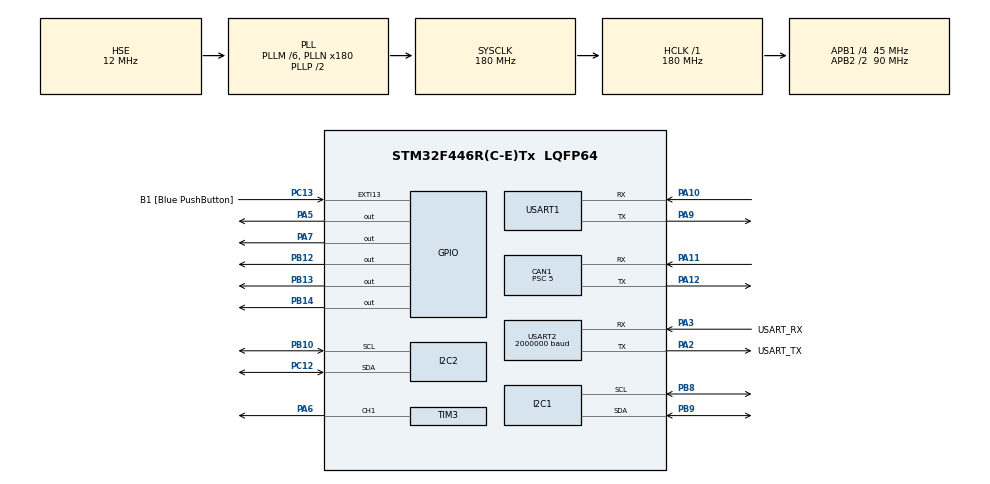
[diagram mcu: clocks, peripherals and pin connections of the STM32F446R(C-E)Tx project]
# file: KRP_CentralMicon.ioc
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CAN1.ABOM=ENABLE
CAN1.BS1=CAN_BS1_7TQ
CAN1.BS2=CAN_BS2_1TQ
CAN1.CalculateBaudRate=1000000
CAN1.CalculateTimeBit=999.99
CAN1.CalculateTimeQuantum=111.11111111111111
CAN1.NART=ENABLE
CAN1.Prescaler=5
CAN1.SJW=CAN_SJW_1TQ
CAN1.TXFP=ENABLE
Dma.Request0=USART2_RX
Dma.USART2_RX.0.Direction=DMA_PERIPH_TO_MEMORY
Dma.USART2_RX.0.FIFOMode=DMA_FIFOMODE_DISABLE
Dma.USART2_RX.0.Instance=DMA1_Stream5
Dma.USART2_RX.0.MemDataAlignment=DMA_MDATAALIGN_BYTE
Dma.USART2_RX.0.MemInc=DMA_MINC_ENABLE
Dma.USART2_RX.0.Mode=DMA_CIRCULAR
Dma.USART2_RX.0.PeriphDataAlignment=DMA_PDATAALIGN_BYTE
Dma.USART2_RX.0.PeriphInc=DMA_PINC_DISABLE
Dma.USART2_RX.0.Priority=DMA_PRIORITY_LOW
I2C1.I2C_Mode=I2C_Fast
I2C2.I2C_Mode=I2C_Fast
Mcu.Family=STM32F4
Mcu.Name=STM32F446R(C-E)Tx
Mcu.Package=LQFP64
NVIC.CAN1_RX0_IRQn=true\:0\:2\:false\:false\:true\:true\:true
NVIC.CAN1_RX1_IRQn=true\:0\:2\:false\:false\:true\:true\:true
NVIC.CAN1_SCE_IRQn=true\:0\:0\:false\:false\:true\:true\:true
NVIC.DMA1_Stream5_IRQn=true\:0\:0\:false\:false\:true\:false\:true
NVIC.I2C1_EV_IRQn=true\:0\:1\:false\:false\:true\:true\:true
NVIC.I2C2_EV_IRQn=true\:0\:0\:false\:false\:true\:true\:true
NVIC.PriorityGroup=NVIC_PRIORITYGROUP_0
NVIC.TIM3_IRQn=true\:0\:0\:false\:false\:true\:true\:true
NVIC.TIM6_DAC_IRQn=true\:0\:3\:false\:false\:true\:true\:true
NVIC.TIM7_IRQn=true\:0\:0\:false\:false\:true\:true\:true
NVIC.USART2_IRQn=true\:0\:0\:false\:false\:true\:true\:true
PA10.Mode=Asynchronous
PA10.Signal=USART1_RX
PA11.Mode=CAN_Activate
PA11.Signal=CAN1_RX
PA12.Mode=CAN_Activate
PA12.Signal=CAN1_TX
PA13.GPIO_Label=TMS
PA13.Mode=Serial_Wire
PA13.Signal=SYS_JTMS-SWDIO
PA14.GPIO_Label=TCK
PA14.Mode=Serial_Wire
PA14.Signal=SYS_JTCK-SWCLK
PA15.Signal=SYS_JTDI
PA2.GPIO_Label=USART_TX
PA2.Mode=Asynchronous
PA2.Signal=USART2_TX
PA3.GPIO_Label=USART_RX
PA3.Mode=Asynchronous
PA3.Signal=USART2_RX
PA5.GPIO_ModeDefaultOutputPP=GPIO_MODE_OUTPUT_PP
PA5.GPIO_PuPd=GPIO_NOPULL
PA5.Signal=GPIO_Output
PA6.Signal=S_TIM3_CH1
PA7.Signal=GPIO_Output
PA9.Mode=Asynchronous
PA9.Signal=USART1_TX
PB10.GPIO_Pu=GPIO_PULLUP
PB10.Mode=I2C
PB10.Signal=I2C2_SCL
PB12.Signal=GPIO_Output
PB13.Signal=GPIO_Output
PB14.Signal=GPIO_Output
PB3.GPIO_Label=SWO
PB3.Signal=SYS_JTDO-SWO
PB8.GPIO_Pu=GPIO_PULLUP
PB8.Mode=I2C
PB8.Signal=I2C1_SCL
PB9.GPIO_Pu=GPIO_PULLUP
PB9.Mode=I2C
PB9.Signal=I2C1_SDA
PC12.GPIO_Pu=GPIO_PULLUP
PC12.Mode=I2C
PC12.Signal=I2C2_SDA
PC13.GPIO_Label=B1 [Blue PushButton]
PC13.GPIO_ModeDefaultEXTI=GPIO_MODE_IT_FALLING
PC13.Signal=GPXTI13
PC14-OSC32_IN.Mode=LSE-External-Oscillator
PC14-OSC32_IN.Signal=RCC_OSC32_IN
PC15-OSC32_OUT.Mode=LSE-External-Oscillator
PC15-OSC32_OUT.Signal=RCC_OSC32_OUT
PH0-OSC_IN.Mode=HSE-External-Oscillator
PH0-OSC_IN.Signal=RCC_OSC_IN
PH1-OSC_OUT.Mode=HSE-External-Oscillator
PH1-OSC_OUT.Signal=RCC_OSC_OUT
ProjectManager.HeapSize=0x200
ProjectManager.StackSize=0x400
ProjectManager.TargetToolchain=STM32CubeIDE
RCC.48MHZClocksFreq_Value=84000000
RCC.AHBFreq_Value=180000000
RCC.APB1CLKDivider=RCC_HCLK_DIV4
RCC.APB1Freq_Value=45000000
RCC.APB1TimFreq_Value=90000000
RCC.APB2CLKDivider=RCC_HCLK_DIV2
RCC.APB2Freq_Value=90000000
RCC.APB2TimFreq_Value=180000000
RCC.CortexFreq_Value=180000000
RCC.FLatency-AdvancedSettings=FLASH_LATENCY_5
RCC.HCLKFreq_Value=180000000
RCC.HSE_VALUE=12000000
RCC.HSI_VALUE=16000000
RCC.PLLM=6
RCC.PLLN=180
RCC.PLLSourceVirtual=RCC_PLLSOURCE_HSE
RCC.SYSCLKFreq_VALUE=180000000
RCC.SYSCLKSource=RCC_SYSCLKSOURCE_PLLCLK
RCC.USBFreq_Value=180000000
RCC.VCOOutputFreq_Value=360000000
SH.S_TIM3_CH1.0=TIM3_CH1,PWM Generation1 CH1
TIM3.Channel-PWM\ Generation1\ CH1=TIM_CHANNEL_1
USART1.Parity=PARITY_EVEN
USART1.VirtualMode=VM_ASYNC
USART1.WordLength=WORDLENGTH_9B
USART2.BaudRate=2000000
USART2.VirtualMode=VM_ASYNC
VP_TIM6_VS_ClockSourceINT.Mode=Enable_Timer
VP_TIM7_VS_ClockSourceINT.Mode=Enable_Timer
board=NUCLEO-F446RE

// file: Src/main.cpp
/* USER CODE BEGIN Header */
/**
  ******************************************************************************
  * @file           : main.c
  * @brief          : Main program body
  ******************************************************************************
  * @attention
  *
  * <h2><center>&copy; Copyright (c) 2019 STMicroelectronics.
  * All rights reserved.</center></h2>
  *
  * This software component is licensed by ST under BSD 3-Clause license,
  * the "License"; You may not use this file except in compliance with the
  * License. You may obtain a copy of the License at:
  *                        opensource.org/licenses/BSD-3-Clause
  *
  ******************************************************************************
  */
/* USER CODE END Header */

#include "main.h"
#include "can.h"
#include "i2c.h"
#include "tim.h"
#include "usart.h"
#include "gpio.h"

/* USER CODE BEGIN Includes */
#include "Libraries/LowlayerHandel.hpp"
#include "Libraries/InterruptIvent/TimerInterruptCallback.hpp"
#include "stm32f4xx_hal.h"
#include "stdio.h"
#include "Libraries/DefineOrder.h"
#include <stdio.h>

/* USER CODE END Includes */

/* USER CODE BEGIN PTD */

extern void FilterConfig();
extern uint8_t con_data[8];

extern bool intflag;
/* USER CODE END PTD */

/* USER CODE BEGIN PD */
LowlayerHandelTypedef *plow;

/* USER CODE END PD */

/* USER CODE BEGIN PV */
float PSL=0;
/* USER CODE END PV */

void SystemClock_Config(void);

int main(void)
{

  /* MCU Configuration--------------------------------------------------------*/

  /* Reset of all peripherals, Initializes the Flash interface and the Systick. */

  HAL_Init();

  /* Configure the system clock */
  SystemClock_Config();

  /* Initialize all configured peripherals */
  MX_GPIO_Init();
  MX_CAN1_Init();
  MX_USART1_UART_Init();
  MX_USART2_UART_Init();
  MX_TIM6_Init();
  MX_TIM7_Init();
  MX_I2C2_Init();
  MX_TIM3_Init();
  MX_I2C1_Init();
  /* USER CODE BEGIN 2 */
  LowlayerHandelTypedef hlow;
  plow = &hlow;
  FilterConfig();
  HAL_GPIO_TogglePin(GPIOB, GPIO_PIN_14);
    HAL_Delay(500);
    // 緑色LED
    HAL_GPIO_TogglePin(GPIOB, GPIO_PIN_13);
    HAL_Delay(500);
    // 赤色LED
    HAL_GPIO_TogglePin(GPIOB, GPIO_PIN_12);
    HAL_Delay(1000);
    HAL_GPIO_TogglePin(GPIOB, GPIO_PIN_12);
    HAL_GPIO_TogglePin(GPIOB, GPIO_PIN_13);
    HAL_GPIO_TogglePin(GPIOB, GPIO_PIN_14);

  Timer1 LoopInt(&htim6);
  LoopInt.SetLoopTime(5);
  LoopInt.Start();

//#ifdef USEI2C
//    HAL_I2C_Master_Receive_IT(&hi2c2,CON_ADDRESEE,con_data,8);
//#endif

  /* USER CODE END 2 */

  /* Infinite loop */
  while (1)
  {
    /* USER CODE BEGIN 3 */
    if (intflag){

    	//hlow.PS3.begin();
    	PSL=hlow.PS3.ANALOG_LEFT_X();
    	PSL=PSL-130;
    	if(PSL<=0){
    		PSL=0;
    	}
    	if(PSL>=80){
    		PSL=80;
    	}

    	hlow.encoder1.Sendreqest();
    	hlow.Ad1.SendRequest();
    	hlow.loca.SendReqest();

    	hlow.SM1.SetDuty(PSL);

    	hlow.PS3.SetconData();
    	hlow.PS3.SendRequest();

    	intflag=false;
    }
  }
  /* USER CODE END 3 */
}

void SystemClock_Config(void)
{
  RCC_OscInitTypeDef RCC_OscInitStruct = {0};
  RCC_ClkInitTypeDef RCC_ClkInitStruct = {0};

  /** Configure the main internal regulator output voltage
  */
  __HAL_RCC_PWR_CLK_ENABLE();
  __HAL_PWR_VOLTAGESCALING_CONFIG(PWR_REGULATOR_VOLTAGE_SCALE1);
  /** Initializes the RCC Oscillators according to the specified parameters
  * in the RCC_OscInitTypeDef structure.
  */
  RCC_OscInitStruct.OscillatorType = RCC_OSCILLATORTYPE_HSE;
  RCC_OscInitStruct.HSEState = RCC_HSE_ON;
  RCC_OscInitStruct.PLL.PLLState = RCC_PLL_ON;
  RCC_OscInitStruct.PLL.PLLSource = RCC_PLLSOURCE_HSE;
  RCC_OscInitStruct.PLL.PLLM = 6;
  RCC_OscInitStruct.PLL.PLLN = 180;
  RCC_OscInitStruct.PLL.PLLP = RCC_PLLP_DIV2;
  RCC_OscInitStruct.PLL.PLLQ = 2;
  RCC_OscInitStruct.PLL.PLLR = 2;
  if (HAL_RCC_OscConfig(&RCC_OscInitStruct) != HAL_OK)
  {
    Error_Handler();
  }
  /** Activate the Over-Drive mode
  */
  if (HAL_PWREx_EnableOverDrive() != HAL_OK)
  {
    Error_Handler();
  }
  /** Initializes the CPU, AHB and APB buses clocks
  */
  RCC_ClkInitStruct.ClockType = RCC_CLOCKTYPE_HCLK|RCC_CLOCKTYPE_SYSCLK
                              |RCC_CLOCKTYPE_PCLK1|RCC_CLOCKTYPE_PCLK2;
  RCC_ClkInitStruct.SYSCLKSource = RCC_SYSCLKSOURCE_PLLCLK;
  RCC_ClkInitStruct.AHBCLKDivider = RCC_SYSCLK_DIV1;
  RCC_ClkInitStruct.APB1CLKDivider = RCC_HCLK_DIV4;
  RCC_ClkInitStruct.APB2CLKDivider = RCC_HCLK_DIV2;

  if (HAL_RCC_ClockConfig(&RCC_ClkInitStruct, FLASH_LATENCY_5) != HAL_OK)
  {
    Error_Handler();
  }
}

void Error_Handler(void)
{
  /* USER CODE BEGIN Error_Handler_Debug */
  /* User can add his own implementation to report the HAL error return state */
  printf("init error");
  /* USER CODE END Error_Handler_Debug */
}

/************************ (C) COPYRIGHT STMicroelectronics *****END OF FILE****/
